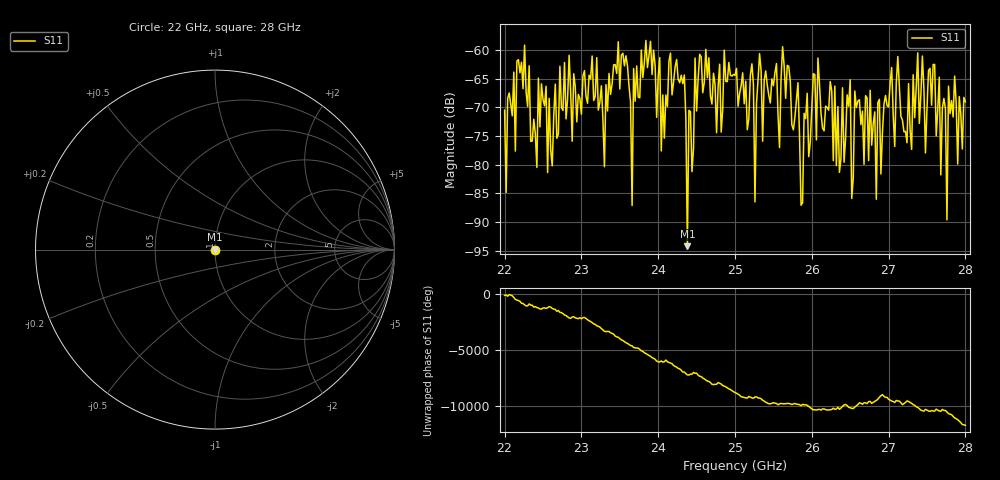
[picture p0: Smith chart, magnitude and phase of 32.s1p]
#  HZ  S  RI  R  50.00
! Rohde & Schwarz ZVA40 4Ports - Version 3.90 - 1145.1110k42 SN: 100403
! Date: 2023-10-04 09:26:12
! Measurement: S12
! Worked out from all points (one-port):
!   301 points, 22 GHz to 28 GHz, reference 50 ohm
!   lowest |S11| = -94.2 dB at 24.38 GHz (marker M1), VSWR 1.00, Z = 50 - j0.0005 ohm
!   |S11| at or under -10 dB: start of sweep to end of sweep
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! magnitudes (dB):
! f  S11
! 22 GHz  -70.5
! 22.76 GHz  -70.6
! 23.5 GHz  -66.8
! 23.58 GHz  -61.0
! 23.66 GHz  -87.1
! 23.68 GHz  -63.2
! 23.84 GHz  -58.3
! 24.02 GHz  -61.3
! 24.04 GHz  -77.6
! 24.26 GHz  -65.1
! 24.38 GHz  -94.2
! 24.48 GHz  -61.4
! 25 GHz  -64.4
! 25.22 GHz  -62.4
! 25.26 GHz  -86.5
! 25.32 GHz  -60.6
! 25.36 GHz  -75.9
! 25.54 GHz  -62.4
! 25.58 GHz  -77.0
! 25.62 GHz  -59.4
! 25.76 GHz  -73.9
! 26.06 GHz  -75.7
! 26.08 GHz  -61.4
! 26.42 GHz  -79.6
! 26.5 GHz  -65.2
! 26.52 GHz  -85.9
! 27.26 GHz  -65.9
! 28 GHz  -69.1
